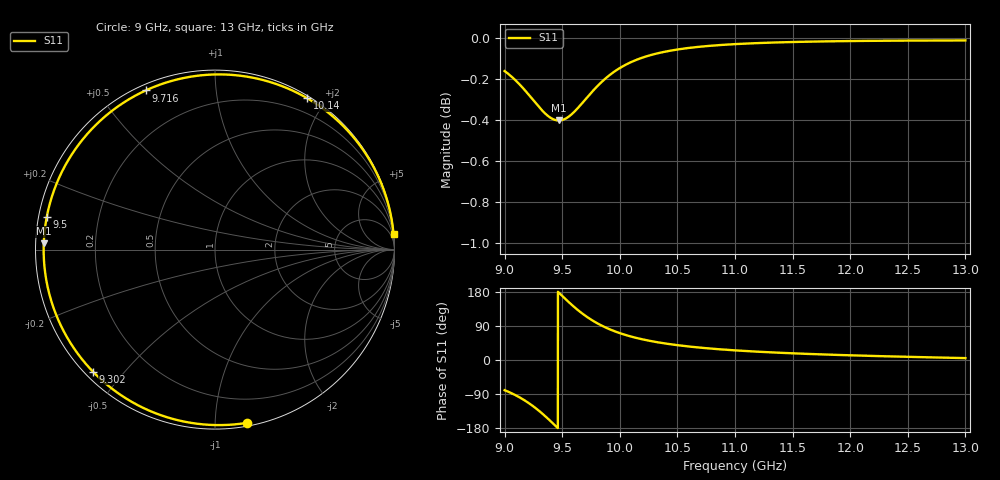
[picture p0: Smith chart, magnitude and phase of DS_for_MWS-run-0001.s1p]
! TOUCHSTONE file generated by CST DESIGN STUDIO
! Date and time: Tue Feb  4 13:56:45 2025
! Project name: C:\Work\MatlabApps\UnitCellOptimizationMatlab\CST\unitcell.cst
! Tree item: Tasks\Sweep1\SPara1\S-Parameters
! Header version: 2024
! Port assignment regex: !\s*Touchstone port\s*([0-9]+)\s*=\s*(CST MWS port|CST DES external port|CST DES block port)\s*(.+)\s* \(\"(.*)\"\)(\s*mode\s*([0-9]+))?.*
! Touchstone port assignment:
! Touchstone port 1 = CST DES external port 1 ("")
# GHz S MA R 50
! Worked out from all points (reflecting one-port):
!   4001 points, 9 GHz to 13 GHz, reference 50 ohm
!   lowest |S11| = -0.4 dB at 9.47 GHz (marker M1), VSWR 43.18, Z = 1.16 + j0.927 ohm
!   phase of S11 starts at -80 deg and turns -275 deg over the sweep
!   S11 on the Smith chart (normalised r, x): 9 GHz: 0.02, -1.20; 9.302 GHz: 0.02, -0.41; 9.5 GHz: 0.02, +0.10; 9.716 GHz: 0.02, +0.65; 10.14 GHz: 0.03, +1.78; 13 GHz: 0, +23
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9  0.9815 -79.6
9.073  0.9777 -89.5
9.124  0.9746 -97.6
9.17  0.9715 -105.8
9.238  0.9665 -119.8
9.302  0.9617 -135.0
9.346  0.9588 -146.5
9.393  0.9564 -159.6
9.432  0.9551 -170.9
9.47  0.9547 177.9
9.5  0.955 169.0
9.552  0.9566 154.1
9.611  0.9598 138.1
9.663  0.9633 125.3
9.716  0.9671 113.5
9.772  0.971 102.6
9.835  0.9751 91.9
9.916  0.9795 80.5
10  0.9832 70.9
10.137  0.9875 58.7
10.301  0.9909 48.2
10.5  0.9934 39.2
10.722  0.9951 31.9
11  0.9964 25.4
11.5  0.9976 17.6
12  0.9981 12.4
12.5  0.9984 8.4
13  0.9984 5.0
